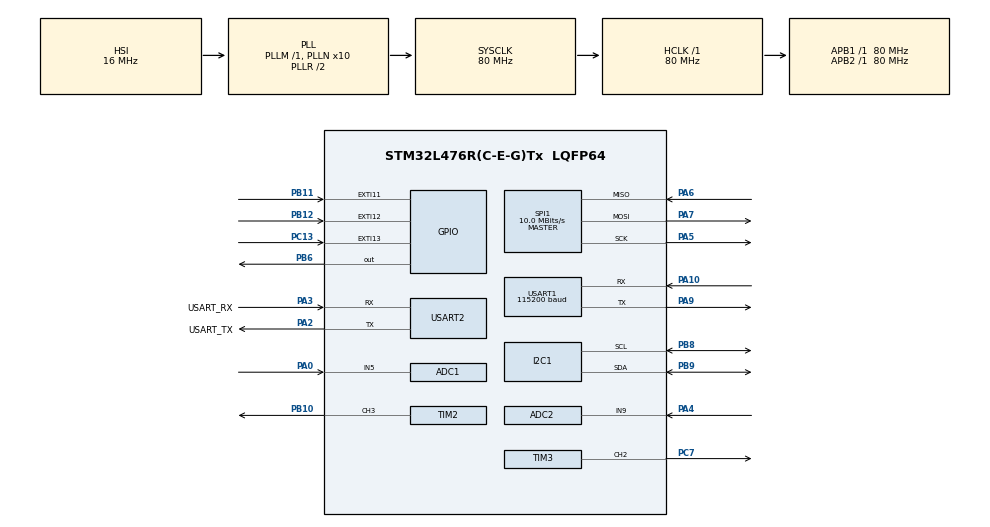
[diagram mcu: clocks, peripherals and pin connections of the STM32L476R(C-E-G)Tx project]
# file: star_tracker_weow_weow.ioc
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ADC1.Channel-0\#ChannelRegularConversion=ADC_CHANNEL_5
ADC1.NbrOfConversionFlag=1
ADC1.OffsetNumber-0\#ChannelRegularConversion=ADC_OFFSET_NONE
ADC1.Rank-0\#ChannelRegularConversion=1
ADC1.Resolution=ADC_RESOLUTION_8B
ADC1.SamplingTime-0\#ChannelRegularConversion=ADC_SAMPLETIME_2CYCLES_5
ADC1.master=1
ADC2.Channel-0\#ChannelRegularConversion=ADC_CHANNEL_9
ADC2.NbrOfConversionFlag=1
ADC2.OffsetNumber-0\#ChannelRegularConversion=ADC_OFFSET_NONE
ADC2.Rank-0\#ChannelRegularConversion=1
ADC2.Resolution=ADC_RESOLUTION_8B
ADC2.SamplingTime-0\#ChannelRegularConversion=ADC_SAMPLETIME_2CYCLES_5
I2C1.Timing=0x10D19CE4
Mcu.Family=STM32L4
Mcu.Name=STM32L476R(C-E-G)Tx
Mcu.Package=LQFP64
NVIC.EXTI15_10_IRQn=true\:0\:0\:false\:false\:true\:true\:true\:true
NVIC.PriorityGroup=NVIC_PRIORITYGROUP_4
NVIC.USART1_IRQn=true\:0\:0\:false\:false\:true\:true\:true\:true
NVIC.USART2_IRQn=true\:0\:0\:false\:false\:true\:true\:true\:true
PA0.Signal=ADCx_IN5
PA10.Mode=Asynchronous
PA10.Signal=USART1_RX
PA13\ (JTMS-SWDIO).GPIO_Label=TMS
PA13\ (JTMS-SWDIO).Signal=SYS_JTMS-SWDIO
PA14\ (JTCK-SWCLK).GPIO_Label=TCK
PA14\ (JTCK-SWCLK).Signal=SYS_JTCK-SWCLK
PA2.GPIO_Label=USART_TX
PA2.GPIO_Mode=GPIO_MODE_AF_PP
PA2.GPIO_PuPd=GPIO_NOPULL
PA2.GPIO_Speed=GPIO_SPEED_FREQ_VERY_HIGH
PA2.Mode=Asynchronous
PA2.Signal=USART2_TX
PA3.GPIO_Label=USART_RX
PA3.GPIO_Mode=GPIO_MODE_AF_PP
PA3.GPIO_PuPd=GPIO_NOPULL
PA3.GPIO_Speed=GPIO_SPEED_FREQ_VERY_HIGH
PA3.Mode=Asynchronous
PA3.Signal=USART2_RX
PA4.Signal=ADCx_IN9
PA5.Mode=Full_Duplex_Master
PA5.Signal=SPI1_SCK
PA6.Mode=Full_Duplex_Master
PA6.Signal=SPI1_MISO
PA7.Mode=Full_Duplex_Master
PA7.Signal=SPI1_MOSI
PA9.Mode=Asynchronous
PA9.Signal=USART1_TX
PB10.Signal=S_TIM2_CH3
PB11.GPIO_ModeDefaultEXTI=GPIO_MODE_IT_FALLING
PB11.Signal=GPXTI11
PB12.GPIO_ModeDefaultEXTI=GPIO_MODE_IT_FALLING
PB12.Signal=GPXTI12
PB3\ (JTDO-TRACESWO).GPIO_Label=SWO
PB3\ (JTDO-TRACESWO).Signal=SYS_JTDO-SWO
PB6.Signal=GPIO_Output
PB8.Mode=I2C
PB8.Signal=I2C1_SCL
PB9.Mode=I2C
PB9.Signal=I2C1_SDA
PC13.GPIO_ModeDefaultEXTI=GPIO_MODE_IT_FALLING
PC13.GPIO_PuPd=GPIO_PULLUP
PC13.Signal=GPXTI13
PC14-OSC32_IN\ (PC14).Signal=RCC_OSC32_IN
PC15-OSC32_OUT\ (PC15).Signal=RCC_OSC32_OUT
PC7.Signal=S_TIM3_CH2
PH0-OSC_IN\ (PH0).Signal=RCC_OSC_IN
PH1-OSC_OUT\ (PH1).Signal=RCC_OSC_OUT
ProjectManager.HeapSize=0x200
ProjectManager.StackSize=0x400
ProjectManager.TargetToolchain=STM32CubeIDE
RCC.ADCFreq_Value=64000000
RCC.AHBFreq_Value=80000000
RCC.APB1Freq_Value=80000000
RCC.APB1TimFreq_Value=80000000
RCC.APB2Freq_Value=80000000
RCC.APB2TimFreq_Value=80000000
RCC.CortexFreq_Value=80000000
RCC.HCLKFreq_Value=80000000
RCC.HSE_VALUE=8000000
RCC.HSI_VALUE=16000000
RCC.LSE_VALUE=32768
RCC.MSI_VALUE=4000000
RCC.PLLN=10
RCC.PLLSourceVirtual=RCC_PLLSOURCE_HSI
RCC.PREFETCH_ENABLE=1
RCC.SYSCLKFreq_VALUE=80000000
RCC.SYSCLKSource=RCC_SYSCLKSOURCE_PLLCLK
RCC.USBFreq_Value=64000000
RCC.VCOOutputFreq_Value=160000000
SH.ADCx_IN5.0=ADC1_IN5,IN5-Single-Ended
SH.ADCx_IN9.0=ADC2_IN9,IN9-Single-Ended
SH.S_TIM2_CH3.0=TIM2_CH3,PWM Generation3 CH3
SH.S_TIM3_CH2.0=TIM3_CH2,PWM Generation2 CH2
SPI1.BaudRatePrescaler=SPI_BAUDRATEPRESCALER_8
SPI1.CLKPhase=SPI_PHASE_2EDGE
SPI1.CLKPolarity=SPI_POLARITY_HIGH
SPI1.CalculateBaudRate=10.0 MBits/s
SPI1.DataSize=SPI_DATASIZE_8BIT
SPI1.Direction=SPI_DIRECTION_2LINES
SPI1.Mode=SPI_MODE_MASTER
SPI1.VirtualType=VM_MASTER
TIM2.Channel-PWM\ Generation3\ CH3=TIM_CHANNEL_3
TIM2.Period=2000
TIM2.Prescaler=800-1
TIM2.Pulse-PWM\ Generation3\ CH3=1000
TIM3.Channel-PWM\ Generation2\ CH2=TIM_CHANNEL_2
TIM3.Period=2000
TIM3.Prescaler=800-1
TIM3.Pulse-PWM\ Generation2\ CH2=1000
USART1.BaudRate=115200
USART1.VirtualMode-Asynchronous=VM_ASYNC
USART2.VirtualMode-Asynchronous=VM_ASYNC
board=NUCLEO-L476RG

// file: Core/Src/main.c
/* USER CODE BEGIN Header */
/**
  ******************************************************************************
  * @file           : main.c
  * @brief          : Main program body
  ******************************************************************************
  * @attention
  *
  * Copyright (c) 2026 STMicroelectronics.
  * All rights reserved.
  *
  * This software is licensed under terms that can be found in the LICENSE file
  * in the root directory of this software component.
  * If no LICENSE file comes with this software, it is provided AS-IS.
  *
  ******************************************************************************
  */
/* USER CODE END Header */
#include "main.h"

/* USER CODE BEGIN Includes */
#include <string.h>
#include <stdio.h>
#include <math.h>
#include <ssd1306.h>
#include <ssd1306_fonts.h>
#include <stdlib.h>
#include <stdint.h>
/* USER CODE END Includes */

/* USER CODE BEGIN PTD */
enum mode {MANUAL, FOLLOW};
/* USER CODE END PTD */

/* USER CODE BEGIN PD */
#define BUTTON_READ GPIO_PIN_11
#define BUTTON_RESET GPIO_PIN_12
#define BUTTON_MODE GPIO_PIN_13

#define DEG_TO_RAD (M_PI / 180.0)
#define RAD_TO_DEG (180.0 / M_PI)
/* USER CODE END PD */

ADC_HandleTypeDef hadc1;
ADC_HandleTypeDef hadc2;

I2C_HandleTypeDef hi2c1;

SPI_HandleTypeDef hspi1;

TIM_HandleTypeDef htim2;
TIM_HandleTypeDef htim3;

UART_HandleTypeDef huart1;
UART_HandleTypeDef huart2;

/* USER CODE BEGIN PV */
// modes

int mode = MANUAL;

//button flags

volatile uint8_t reset_flag=0;
volatile uint8_t mode_flag=0;

// UART RX variables for user commands
uint8_t uart_rx_byte;
char uart_rx_buffer[64];
uint8_t uart_rx_idx = 0;
volatile uint8_t uart_cmd_ready = 0;
char uart_received_cmd[64];

//oled
char myText[100] = ":(";
char retVal;
char msg[100];

//temperature
static const uint8_t TMP102_ADDR = 0x48 << 1; // Use 8-bit address
static const uint8_t REG_TEMP = 0x00;
HAL_StatusTypeDef ret; 	// to hold communication errors if such occur
uint8_t Temperature_buf[16]; 			// to hold the character string for UART communication or the bytes from the TMP102 chip
int16_t val; 				// to hold raw value from the TMP102 chip
float temp_c;

//magnetometer
float direction;
float base_direction;
int16_t magX;
int16_t magY;
int16_t magZ;

float degree_1;
float degree_2;
uint8_t read;

//GPS
uint8_t rx_byte;
char gps_buffer[128];
uint8_t gps_index = 0;
volatile uint8_t line_ready = 0;
char gps_line[128];

typedef struct {
    uint8_t fix;          // 1 = jest sygnał ('A'), 0 = brak ('V')
    uint8_t hours;        // Czas UTC
    uint8_t minutes;
    uint8_t seconds;
    uint8_t day;
    uint8_t month;
    uint16_t year;
    double latitude;      // Stopnie dziesiętne (np. 52.229770)
    double longitude;     // Stopnie dziesiętne (np. 21.012220)
} GPS_Data_t;

typedef struct {
    double latitude;      // Stopnie dziesiętne (np. 52.229770)
    double longitude;     // Stopnie dziesiętne (np. 21.012220)
} GPS_Location_t;

GPS_Data_t gps_data = {0};
GPS_Location_t location ={0};

// Konwersja formatu NMEA (DDMM.MMMM) na stopnie dziesiętne (DD.DDDDDD)
double NMEA_To_Decimal(double nmea_val, char quadrant)
{
    int degrees = (int)(nmea_val / 100);
    double minutes = nmea_val - (degrees * 100);
    double dec = degrees + (minutes / 60.0);

    if (quadrant == 'S' || quadrant == 'W') {
        dec = -dec;
    }
    return dec;
}

// Bezpieczne wyciąganie kolejnego pola między przecinkami (obsługuje puste pola ",,")
char* get_next_token(char **str)
{
    if (*str == NULL) return NULL;
    char *start = *str;
    char *end = strpbrk(start, ",*");
    if (end != NULL) {
        *end = '\0';
        *str = end + 1;
    } else {
        *str = NULL;
    }
    return start;
}

// Parser ramki $GNRMC / $GPRMC
void GPS_Parse_RMC(char *line, GPS_Data_t *gps)
{
    if (strncmp(line, "$GNRMC", 6) != 0 && strncmp(line, "$GPRMC", 6) != 0) {
        return; // Ignoruj inne ramki
    }

    char *rest = line;
    char *token;
    int field = 0;

    double raw_lat = 0.0, raw_lon = 0.0;
    char lat_dir = 'N', lon_dir = 'E';

    while ((token = get_next_token(&rest)) != NULL)
    {
        switch (field)
        {
            case 1: // Czas UTC: HHMMSS.sss (czas bywa dostępny jeszcze przed złapaniem fixa 3D!)
                if (strlen(token) >= 6) {
                    int t = atoi(token);
                    gps->hours   = (t / 10000);
                    gps->minutes = (t % 10000) / 100;
                    gps->seconds = (t % 100);
                }
                break;

            case 2: // Status: 'A' = Active, 'V' = Void
                gps->fix = (token[0] == 'A') ? 1 : 0;
                break;

            case 3: // Szerokość (DDMM.MMMM)
                if (strlen(token) > 0) raw_lat = atof(token);
                break;

            case 4: // Półkula N/S
                if (strlen(token) > 0) lat_dir = token[0];
                break;

            case 5: // Długość (DDDMM.MMMM)
                if (strlen(token) > 0) raw_lon = atof(token);
                break;

            case 6: // Półkula E/W
                if (strlen(token) > 0) lon_dir = token[0];
                break;

            case 9: // Data: DDMMYY
                if (strlen(token) == 6) {
                    int d = atoi(token);
                    gps->day   = (d / 10000);
                    gps->month = (d % 10000) / 100;
                    gps->year  = 2000 + (d % 100);
                }
                break;
        }
        field++;
    }

    if (gps->fix) {
        gps->latitude  = NMEA_To_Decimal(raw_lat, lat_dir);
        gps->longitude = NMEA_To_Decimal(raw_lon, lon_dir);
    }
}

//coordinates

// Structure holding equatorial coordinates of the celestial target
typedef struct {
    float ra_hours;    // Right Ascension in decimal hours (0.0 to 24.0 h)
    float dec_deg;     // Declination in decimal degrees (-90.0 to +90.0 deg)
} SkyTarget_t;

// Structure holding calculated angles for the servos
typedef struct {
    float azimuth_servo;   // Horizontal servo angle (0 to 180 or 0 to 360 deg)
    float altitude_servo;  // Vertical servo angle (0 to 90 deg)
} ServoAngles_t;

SkyTarget_t current_target = { .ra_hours = 0.0f, .dec_deg = 0.0f };

// Parses input string formatted as: "RA,DEC\n" (e.g., "6.75,-16.71\n")
uint8_t Parse_UART_Coordinates(char *str, SkyTarget_t *target)
{
    float ra, dec;
    if (sscanf(str, "%f,%f", &ra, &dec) == 2) {
        if (ra >= 0.0f && ra <= 24.0f && dec >= -90.0f && dec <= 90.0f) {
            target->ra_hours = ra;
            target->dec_deg = dec;
            return 1; // Valid
        }
    }
    return 0; // Malformed input
}
/**
 * @brief Normalizes an angle in degrees into the [0, 360) range.
 */
static float normalize_deg(float angle) {
    angle = fmodf(angle, 360.0f);
    if (angle < 0.0f) angle += 360.0f;
    return angle;
}

/**
 * @brief Computes days elapsed since the standard epoch J2000.0 (d = JD - 2451545.0).
 *
 * @param year   Calendar year (e.g., 2026)
 * @param month  Month (1 - 12)
 * @param day    Day of the month (1 - 31)
 * @param hour   UTC hour (0 - 23)
 * @param minute UTC minute (0 - 59)
 * @param second UTC second (0 - 59)
 * @return Days elapsed since J2000.0 epoch
 */
static double get_days_since_j2000(int year, int month, int day, int hour, int minute, int second) {
    if (month <= 2) {
        year -= 1;
        month += 12;
    }

    int A = year / 100;
    int B = 2 - A + (A / 4);

    // Julian Day Number at 0h UTC
    double JD = floor(365.25 * (year + 4716)) + floor(30.6001 * (month + 1)) + day + B - 1524.5;

    // Add fractional day based on UTC time
    double day_fraction = (hour + minute / 60.0 + second / 3600.0) / 24.0;
    JD += day_fraction;

    return JD - 2451545.0; // Elapsed days since J2000.0
}

/**
 * @brief Computes Greenwich Mean Sidereal Time (GMST) in degrees [0, 360).
 *
 * @param d Days elapsed since J2000.0
 * @param hour UTC hour
 * @param minute UTC minute
 * @param second UTC second
 * @return GMST in degrees
 */
static float calculate_gmst_deg(double d, int hour, int minute, int second) {
    // Astronomical approximation formula for GMST
    double gmst = 280.46061837 + 360.98564736629 * d;
    return (float)fmod(gmst, 360.0);
}

/**
 * @brief Converts equatorial coordinates into horizontal servo angles.
 *
 * @param target     Target celestial coordinates (RA in hours, Dec in degrees)
 * @param gps        Current GPS data (latitude, longitude, UTC date & time)
 * @param heading    Device orientation heading (0=N, 90=W, 180=S, 270=E)
 * @param servos     Pointer to output struct containing computed servo angles
 */
void Calculate_Servo_Positions(const SkyTarget_t *target,
                              const GPS_Data_t *gps,
                              float heading,
                              ServoAngles_t *servos)
{
    // 1. Calculate elapsed days since J2000.0
    double d = get_days_since_j2000(gps->year, gps->month, gps->day,
                                    gps->hours, gps->minutes, gps->seconds);

    // 2. Calculate Greenwich Mean Sidereal Time (GMST) in degrees
    float gmst = calculate_gmst_deg(d, gps->hours, gps->minutes, gps->seconds);
    if (gmst < 0.0f) gmst += 360.0f;

    // 3. Calculate Local Sidereal Time (LST)
    // Positive longitude for East, negative for West
    float lst = normalize_deg(gmst + (float)gps->longitude);

    // 4. Calculate Hour Angle (HA)
    // 1 hour of Right Ascension = 15 degrees
    float ra_deg = target->ra_hours * 15.0f;
    float ha_deg = normalize_deg(lst - ra_deg);

    // Convert angles to radians for trigonometric functions
    float ha = ha_deg * DEG_TO_RAD;
    float dec = target->dec_deg * DEG_TO_RAD;
    float lat = (float)gps->latitude * DEG_TO_RAD;

    // 5. Calculate Altitude (Alt)
    // sin(Alt) = sin(Dec)*sin(Lat) + cos(Dec)*cos(Lat)*cos(HA)
    float sin_alt = sinf(dec) * sinf(lat) + cosf(dec) * cosf(lat) * cosf(ha);

    // Clamp to valid range [-1.0, 1.0] to prevent rounding NaN errors
    if (sin_alt > 1.0f) sin_alt = 1.0f;
    if (sin_alt < -1.0f) sin_alt = -1.0f;
    float alt = asinf(sin_alt); // Altitude in radians

    // 6. Calculate astronomical Azimuth (Az: 0=N, 90=E, 180=S, 270=W)
    // cos(Az) = (sin(Dec) - sin(Alt)*sin(Lat)) / (cos(Alt)*cos(Lat))
    float cos_az = (sinf(dec) - sinf(alt) * sinf(lat)) / (cosf(alt) * cosf(lat));
    if (cos_az > 1.0f) cos_az = 1.0f;
    if (cos_az < -1.0f) cos_az = -1.0f;

    float az = acosf(cos_az) * RAD_TO_DEG;

    // If sin(HA) > 0, the target is setting (past the meridian, Az > 180 deg)
    if (sinf(ha) > 0.0f) {
        az = 360.0f - az;
    }

    float alt_deg = alt * RAD_TO_DEG;

    // -------------------------------------------------------------
    // 7. Map to physical servo angles
    // -------------------------------------------------------------

    // Vertical servo (Altitude):
    // If target is below horizon (Alt < 0), clamp servo to 0 deg
    if (alt_deg < 0.0f) {
        servos->altitude_servo = 0.0f; // Below horizon
    } else {
        servos->altitude_servo = alt_deg;
    }

    // Horizontal servo (Relative Azimuth):
    // Standard astronomical azimuth: 0=N, 90=E, 180=S, 270=W
    // User heading convention is counter-clockwise: 0=N, 90=W, 180=S, 270=E
    // Transform target azimuth to user compass system: target_in_user_system = (360 - az)
    // Relative servo position: target - device_heading
    float target_in_your_system = 360.0f - az;
    float relative_servo_azimuth = target_in_your_system - heading;

    servos->azimuth_servo = normalize_deg(relative_servo_azimuth);
}

/**
 * @brief Sets standard RC servo angle (0 to 180 degrees via 1000us - 2000us PWM pulse).
 *
 * @param htim    Pointer to TIM handle (e.g., &htim2)
 * @param channel Timer channel (e.g., TIM_CHANNEL_1)
 * @param angle   Target angle in degrees (0.0 to 180.0)
 */
void Servo_SetAngle(TIM_HandleTypeDef *htim, uint32_t channel, float angle)
{
    // Clamp angle to physical servo limits
    if (angle < 0.0f) angle = 0.0f;
    if (angle > 180.0f) angle = 180.0f;

    // Map 0 - 180 degrees to 1000 - 2000 microseconds pulse width
    uint32_t pulse_us = (uint32_t)(1000.0f + (angle / 180.0f) * 1000.0f);

    // Update timer compare register
    __HAL_TIM_SET_COMPARE(htim, channel, pulse_us);
}

/* USER CODE END PV */

void SystemClock_Config(void);
void PeriphCommonClock_Config(void);
static void MX_GPIO_Init(void);
static void MX_ADC1_Init(void);
static void MX_USART2_UART_Init(void);
static void MX_TIM3_Init(void);
static void MX_ADC2_Init(void);
static void MX_TIM2_Init(void);
static void MX_USART1_UART_Init(void);
static void MX_SPI1_Init(void);
static void MX_I2C1_Init(void);
/* USER CODE BEGIN PFP */
void servo_control(TIM_HandleTypeDef *htim, uint32_t Channel, float degree)
{
    uint16_t pulseWidth = (uint16_t)((degree * 150.0f / 180.0f) + 75.0f);
    __HAL_TIM_SetCompare(htim, Channel, pulseWidth);
}

float read_potentiometer(ADC_HandleTypeDef *hadc ){
	HAL_ADC_Start(hadc);
	HAL_ADC_PollForConversion(hadc,1000);

	return ((float)HAL_ADC_GetValue(hadc))/255.0f*180.0f;

}

void write_spi(uint8_t REG_ADRES, uint8_t msg){
	 uint8_t DATA[2];
	 DATA[0]= writeMask | REG_ADRES ;
	 DATA[1]=msg;
	 HAL_GPIO_WritePin(GPIOB, GPIO_PIN_6, GPIO_PIN_RESET); // Pull the chip select line low
	 HAL_SPI_Transmit(&hspi1, DATA, 2, 100); // Tell the ICM20948 what you want
	 HAL_GPIO_WritePin(GPIOB, GPIO_PIN_6, GPIO_PIN_SET);
}

void read_spi(void* rx_data_pointer, uint8_t REG_ADRES){

	   uint8_t tx_data = 0x80 |REG_ADRES; // Prepare the instruction " read register
  	   HAL_GPIO_WritePin(GPIOB, GPIO_PIN_6, GPIO_PIN_RESET); // Pull the chip select line low
  	   HAL_SPI_Transmit(&hspi1, &tx_data, 1, 100); // Tell the ICM20948 what you want
  	   HAL_SPI_Receive(&hspi1, rx_data_pointer, 1, 100); // Get the answer
  	   HAL_GPIO_WritePin(GPIOB, GPIO_PIN_6, GPIO_PIN_SET); // Release the slave chip by bringing the line back up

}

void spi_slave0_write(uint8_t SLV_REG, uint8_t SLV_CMD){
	write_spi(ICM20648_REG_BANK_SEL, 0x30);
	write_spi(ICM20648_REG_I2C_SLV0_ADDR, 0x0C);
	write_spi(ICM20648_REG_I2C_SLV0_REG, SLV_REG);
	write_spi(ICM20648_REG_I2C_SLV0_DO, SLV_CMD);
	write_spi(ICM20648_REG_I2C_SLV0_CTRL, 0x81);
}

void spi_slave0_read( uint8_t SLV_REG, uint8_t len){
	write_spi(ICM20648_REG_BANK_SEL, 0x30);
	write_spi(ICM20648_REG_I2C_SLV0_ADDR, 0x8C);
	write_spi(ICM20648_REG_I2C_SLV0_REG, SLV_REG);
	write_spi(ICM20648_REG_I2C_SLV0_CTRL, 0x80|len);

}

float read_magnetometer(int16_t *magX,int16_t *magY,int16_t *magZ, uint8_t print)
{
	  write_spi(ICM20648_REG_BANK_SEL, 0x00); // Ensure Bank 0 is selected

	  uint8_t st1;
	  read_spi(&st1, 0x3B); // Read ST1 (Status 1) register

	  // Check if the "Data Ready" bit (bit 0) is set to 1
	  if (st1 & 0x01) {
		  uint8_t hxl, hxh, hyl, hyh, hzl, hzh, st2;

		  read_spi(&hxl, 0x3C); // X Low
		  read_spi(&hxh, 0x3D); // X High
		  read_spi(&hyl, 0x3E); // Y Low
		  read_spi(&hyh, 0x3F); // Y High
		  read_spi(&hzl, 0x40); // Z Low
		  read_spi(&hzh, 0x41); // Z High

		  // CRITICAL: You MUST read ST2 (0x42) at the end of every cycle.
		  // If you do not read ST2, the AK09916 locks its data registers and stops updating!
		  read_spi(&st2, 0x43);

		  // Reconstruct the 16-bit values correctly (Little-Endian)
		  *magX = (int16_t)((hxh << 8) | hxl);
		  *magY = (int16_t)((hyh << 8) | hyl);
		  *magZ = (int16_t)((hzh << 8) | hzl);

	  }

		// cound directions in radians
		float heading = atan2((float)*magY, (float)*magX);

		// radians to angles
		heading = heading * 180.0 / 3.14159265;

		// Normalisation
		if (heading < 0) {
			heading += 360.0;
		}

		if (print>0)
		{
		  char msg[50];
		  sprintf(msg, "X:%hd Y:%hd Z:%hd\r\n", *magX, *magY, *magZ);
		  HAL_UART_Transmit(&huart2, (uint8_t*)msg, strlen(msg), 100);
		  sprintf(msg, "direction %f\r\n", heading);
		  HAL_UART_Transmit(&huart2, (uint8_t*)msg, strlen(msg), 100);
		}

					// heading = 0 (lub 360) N
					// heading = 90 W
					// heading = 180 S
					// heading = 270 E
		return heading;
}

uint8_t read_gps(volatile uint8_t *line_ready, char *gps_line, GPS_Data_t *gps_data, uint8_t print)
{
    if (*line_ready)
    {
        *line_ready = 0;

        // Parse only if sentence is $GNRMC or $GPRMC
        if (strncmp(gps_line, "$GNRMC", 6) == 0 || strncmp(gps_line, "$GPRMC", 6) == 0)
        {
            GPS_Parse_RMC(gps_line, gps_data);

            if (print)
            {
                char msg[128]; // Increased to 128 to prevent truncation

                if (gps_data->fix)
                {
                    snprintf(msg, sizeof(msg),
                             " UTC: %02d:%02d:%02d | Data: %02d.%02d.%04d | Lat: %.6f, Lon: %.6f\r\n",
                             gps_data->hours, gps_data->minutes, gps_data->seconds,
                             gps_data->day, gps_data->month, gps_data->year,
                             gps_data->latitude, gps_data->longitude);
                }
                else
                {
                    snprintf(msg, sizeof(msg),
                             "Finding satelites... UTC: %02d:%02d:%02d\r\n",
                             gps_data->hours, gps_data->minutes, gps_data->seconds);
                }

                // Transmit FIRST, then return!
                HAL_UART_Transmit(&huart2, (uint8_t*)msg, strlen(msg), 100);
            }

            return gps_data->fix ? 1 : 0;
        }

        return 3; // Line was processed, but it was not RMC (e.g. GGA, GSV)
    }

    return 2; // No line ready yet
}

void reset(float *direction,GPS_Location_t *location,GPS_Data_t *gps_data ){

	float sum = 0.0f;
	for (int i = 0; i < 10; i++) {
	    sum += read_magnetometer(&magX, &magY, &magZ, 0);
	}
	*direction = sum / 10.0f;
    sprintf(msg, "direction %.1f\r\n", *direction);
    ssd1306_SetCursor(0, 5);
    retVal = ssd1306_WriteString(msg, Font_6x8, White);

    if (gps_data->fix)
                {snprintf(msg, sizeof(msg),
                        "UTC: %02d:%02d:%02d | Data: %02d.%02d.%04d | Lat: %.6f, Lon: %.6f | direction %.1f\r\n",
                        gps_data->hours, gps_data->minutes, gps_data->seconds,
                        gps_data->day, gps_data->month, gps_data->year,
                        gps_data->latitude, gps_data->longitude,*direction);
                HAL_UART_Transmit(&huart2, (uint8_t*)msg, strlen(msg), 100);
                    // Mamy sygnał z satelitów!
                    snprintf(msg, sizeof(msg),
                             "Lat:%.2f, Lon:%.2f\r\n",

                             gps_data->latitude, gps_data->longitude);
                }
                else
                {
                    // Brak fixa (np. w budynku), ale czas z satelitów lub RTC modułu może już płynąć
                	snprintf(msg, sizeof(msg),
                	                         "Finding satelites...  UTC: %02d:%02d:%02d | direction %.1f \r\n",
                	                         gps_data->hours, gps_data->minutes, gps_data->seconds,*direction);
                	HAL_UART_Transmit(&huart2, (uint8_t*)msg, strlen(msg), 100);

                    snprintf(msg, sizeof(msg),
                             "No satelites");
                }
    ssd1306_SetCursor(0, 15);
    retVal = ssd1306_WriteString(msg, Font_6x8, White);
    ssd1306_UpdateScreen();

}

void read_temp(uint8_t *Temperature_buf, HAL_StatusTypeDef *ret, int16_t *val,float *temp_c , uint8_t print){
// Tell TMP102 that we want to read from the temperature register
*Temperature_buf = REG_TEMP;
*ret = HAL_I2C_Master_Transmit(&hi2c1, TMP102_ADDR, Temperature_buf, 1, 200);
	if ( *ret != HAL_OK ) {
	  strcpy(Temperature_buf, "Error Tx\r\n");
	}
	else{
  // Read 2 bytes from the temperature register
  *ret = HAL_I2C_Master_Receive(&hi2c1, TMP102_ADDR, Temperature_buf, 2, 200);
	  if ( *ret != HAL_OK ) {
		strcpy(Temperature_buf, "Error Rx\r\n");
	  } else {

		//Combine the bytes
		*val = ((int16_t)*Temperature_buf << 4) | (*(Temperature_buf+1) >> 4);

		// Convert to 2's complement, since temperature can be negative
		if ( *val > 0x7FF ) {
			*val |= 0xF000;
		}

		// Convert to float temperature value (Celsius)
		*temp_c = *val * 0.0625;

		// Convert temperature to decimal format
		*temp_c *= 100;
		sprintf((char*)Temperature_buf,"%u.%u C\r\n",
			  ((unsigned int)*temp_c / 100),
			  ((unsigned int)*temp_c % 100));
	  }

	}

if (print){
	HAL_UART_Transmit(&huart2, Temperature_buf, strlen((char*)Temperature_buf), 10);
}

}

/* USER CODE END PFP */

int main(void)
{

  /* MCU Configuration--------------------------------------------------------*/

  /* Reset of all peripherals, Initializes the Flash interface and the Systick. */
  HAL_Init();

  /* Configure the system clock */
  SystemClock_Config();

  /* Configure the peripherals common clocks */
  PeriphCommonClock_Config();

  /* Initialize all configured peripherals */
  MX_GPIO_Init();
  MX_ADC1_Init();
  MX_USART2_UART_Init();
  MX_TIM3_Init();
  MX_ADC2_Init();
  MX_TIM2_Init();
  MX_USART1_UART_Init();
  MX_SPI1_Init();
  MX_I2C1_Init();
  /* USER CODE BEGIN 2 */

  // oled
  ssd1306_Init();
   ssd1306_SetCursor(0, 5);
   retVal = ssd1306_WriteString(myText, Font_6x8, White);
   ssd1306_UpdateScreen();

  //UART
  HAL_UART_Receive_IT(&huart1, &rx_byte, 1);
  HAL_UART_Receive_IT(&huart2, &uart_rx_byte, 1);
  //servos
  HAL_TIM_PWM_Start(&htim3, TIM_CHANNEL_2);  // Start the timer 3 for PWM on Channel 2 (PC7)
  HAL_TIM_PWM_Start(&htim2, TIM_CHANNEL_3);  // Start the timer 2 for PWM on Channel 2 (PB10)

  //magnetometer
  do {
	  write_spi(ICM20648_REG_BANK_SEL, 0x00);
	   read_spi(&read,ICM20648_REG_WHO_AM_I);
     } while (read != 0xEA);
  	  write_spi(ICM20648_REG_PWR_MGMT_1, 0x01);
  	  read_spi(&read,ICM20648_REG_PWR_MGMT_1);// turn off sleep mode

  	  // magnetometer cobfiguration
     write_spi(ICM20648_REG_BANK_SEL, 0x00);
     write_spi(0x09, 0x01); // odr align
     HAL_Delay(5);
     write_spi(ICM20648_REG_USER_CTRL, 0x20);
     HAL_Delay(5);
     write_spi(ICM20648_REG_BANK_SEL, 0x30);
     HAL_Delay(5);
     write_spi(ICM20648_REG_I2C_MST_CTRL, 0x0D);
     HAL_Delay(5);
     write_spi(ICM20648_REG_LP_CONFIG, (1 << 6)); // i2c master in duty cycle mode
     HAL_Delay(5);
     write_spi(ICM20648_REG_I2C_MST_ODR_CONFIG, 0x03);    // odr to 137Hz
     HAL_Delay(10);

     spi_slave0_write(0x32, 0x01);// Write 0x01 to the magnetometer's CNTL3 register (0x32).
     HAL_Delay(20);
     spi_slave0_write(0x31, 0x08);// Write 0x08 to the magnetometer's CNTL2 register (0x31). This puts the magnetometer into Continuous Measurement Mode 4 (100 Hz update rate).
     HAL_Delay(20);
     spi_slave0_read(0x10, 0x0A);
     HAL_Delay(20);
     write_spi(ICM20648_REG_BANK_SEL, 0x00);

     reset(&direction,&location,&gps_data);

     SkyTarget_t plejady = {

    		 .ra_hours = 3.79f,
    		 .dec_deg  = 24.716f
     };

     current_target = plejady;

     ServoAngles_t target_servos;
     uint32_t last_calc_time = 0;

     __HAL_TIM_SET_COMPARE(&htim2, TIM_CHANNEL_3, 1500);
     __HAL_TIM_SET_COMPARE(&htim3, TIM_CHANNEL_2, 1500);
  /* USER CODE END 2 */

  /* Infinite loop */
  /* USER CODE BEGIN WHILE */

  while (1)
  {

	  if (uart_cmd_ready)
	            {
	                uart_cmd_ready = 0;
	                if (Parse_UART_Coordinates(uart_received_cmd, &current_target)) {
	                    snprintf(msg, sizeof(msg), "\r\n[OK] Set Target: RA=%.2fh, Dec=%.1f deg\r\n",
	                             current_target.ra_hours, current_target.dec_deg);
	                } else {
	                    snprintf(msg, sizeof(msg), "\r\n[ERR] Invalid format! Use: RA,DEC (e.g. 6.75,-16.7)\r\n");
	                }
	                HAL_UART_Transmit(&huart2, (uint8_t*)msg, strlen(msg), 100);
	            }

	  if (mode==MANUAL){
	  //servos
	  degree_1=read_potentiometer(&hadc1 );
	  degree_2=read_potentiometer(&hadc2 );
	  servo_control(&htim2,TIM_CHANNEL_3,degree_2);
	  servo_control(&htim3,TIM_CHANNEL_2,degree_1);
	  }else{
		  // Obliczaj nową pozycję serw np. co 1 sekundę, gdy GPS ma poprawny czas i pozycję
		      if (gps_data.fix && (HAL_GetTick() - last_calc_time > 1000))
		      {
		          last_calc_time = HAL_GetTick();

		          // Wylicz kąty serw
		          Calculate_Servo_Positions(&current_target, &gps_data, direction, &target_servos);

		          // Ustaw serwo wysokości (0 do 90 stopni)
		          servo_control(&htim2,TIM_CHANNEL_3,target_servos.altitude_servo);

		          // Ustaw serwo azymutu
		          // Uwaga: standardowe serwa obracają się w zakresie 0-180 stopni.
		          // Jeśli serwo obraca się tylko o 180 st., dopasuj zakres:
		          if (target_servos.azimuth_servo <= 170.0f) {
		        	  servo_control(&htim3,TIM_CHANNEL_2,target_servos.azimuth_servo);

		          }else{
		        	  servo_control(&htim3,TIM_CHANNEL_2,170);
		          }

		          // Podgląd na UART
		          char dbg[96];
		          snprintf(dbg, sizeof(dbg), "Cel -> Alt: %.1f st. | Servo Az: %.1f st.\r\n",
		                   target_servos.altitude_servo, target_servos.azimuth_servo);
		          HAL_UART_Transmit(&huart2, (uint8_t*)dbg, strlen(dbg), 50);
		      }
	  }

	// gps
	  read_gps(&line_ready, gps_line ,&gps_data, 1);

	// temperature
	  read_temp(Temperature_buf, &ret, &val,&temp_c,0);

	  if (reset_flag){
		  reset_flag=0;
		  reset(&direction,&location,&gps_data);
	  }

	  if (mode_flag ){
		  mode_flag =0;
		  ssd1306_SetCursor(0, 5);
		  if (mode == FOLLOW){snprintf(msg, sizeof(msg),"FOLLOW");}
		  else{snprintf(msg, sizeof(msg),"MANUAL");}

		  retVal = ssd1306_WriteString(msg, Font_6x8, White);
		  ssd1306_UpdateScreen();
	  }

	  if (temp_c< 2500){
		  ssd1306_SetCursor(100, 0);
		  snprintf(msg, sizeof(msg),"cold");
		  retVal = ssd1306_WriteString(msg, Font_6x8, White);
		  ssd1306_UpdateScreen();
	  }else{ssd1306_SetCursor(100, 0);
	  snprintf(msg, sizeof(msg),"    ");
	  retVal = ssd1306_WriteString(msg, Font_6x8, White);
	  ssd1306_UpdateScreen();}
    /* USER CODE END WHILE */

  }
}

void SystemClock_Config(void)
{
  RCC_OscInitTypeDef RCC_OscInitStruct = {0};
  RCC_ClkInitTypeDef RCC_ClkInitStruct = {0};

  /** Configure the main internal regulator output voltage
  */
  if (HAL_PWREx_ControlVoltageScaling(PWR_REGULATOR_VOLTAGE_SCALE1) != HAL_OK)
  {
    Error_Handler();
  }

  /** Initializes the RCC Oscillators according to the specified parameters
  * in the RCC_OscInitTypeDef structure.
  */
  RCC_OscInitStruct.OscillatorType = RCC_OSCILLATORTYPE_HSI;
  RCC_OscInitStruct.HSIState = RCC_HSI_ON;
  RCC_OscInitStruct.HSICalibrationValue = RCC_HSICALIBRATION_DEFAULT;
  RCC_OscInitStruct.PLL.PLLState = RCC_PLL_ON;
  RCC_OscInitStruct.PLL.PLLSource = RCC_PLLSOURCE_HSI;
  RCC_OscInitStruct.PLL.PLLM = 1;
  RCC_OscInitStruct.PLL.PLLN = 10;
  RCC_OscInitStruct.PLL.PLLP = RCC_PLLP_DIV7;
  RCC_OscInitStruct.PLL.PLLQ = RCC_PLLQ_DIV2;
  RCC_OscInitStruct.PLL.PLLR = RCC_PLLR_DIV2;
  if (HAL_RCC_OscConfig(&RCC_OscInitStruct) != HAL_OK)
  {
    Error_Handler();
  }

  /** Initializes the CPU, AHB and APB buses clocks
  */
  RCC_ClkInitStruct.ClockType = RCC_CLOCKTYPE_HCLK|RCC_CLOCKTYPE_SYSCLK
                              |RCC_CLOCKTYPE_PCLK1|RCC_CLOCKTYPE_PCLK2;
  RCC_ClkInitStruct.SYSCLKSource = RCC_SYSCLKSOURCE_PLLCLK;
  RCC_ClkInitStruct.AHBCLKDivider = RCC_SYSCLK_DIV1;
  RCC_ClkInitStruct.APB1CLKDivider = RCC_HCLK_DIV1;
  RCC_ClkInitStruct.APB2CLKDivider = RCC_HCLK_DIV1;

  if (HAL_RCC_ClockConfig(&RCC_ClkInitStruct, FLASH_LATENCY_4) != HAL_OK)
  {
    Error_Handler();
  }
}

void PeriphCommonClock_Config(void)
{
  RCC_PeriphCLKInitTypeDef PeriphClkInit = {0};

  /** Initializes the peripherals clock
  */
  PeriphClkInit.PeriphClockSelection = RCC_PERIPHCLK_ADC;
  PeriphClkInit.AdcClockSelection = RCC_ADCCLKSOURCE_PLLSAI1;
  PeriphClkInit.PLLSAI1.PLLSAI1Source = RCC_PLLSOURCE_HSI;
  PeriphClkInit.PLLSAI1.PLLSAI1M = 1;
  PeriphClkInit.PLLSAI1.PLLSAI1N = 8;
  PeriphClkInit.PLLSAI1.PLLSAI1P = RCC_PLLP_DIV7;
  PeriphClkInit.PLLSAI1.PLLSAI1Q = RCC_PLLQ_DIV2;
  PeriphClkInit.PLLSAI1.PLLSAI1R = RCC_PLLR_DIV2;
  PeriphClkInit.PLLSAI1.PLLSAI1ClockOut = RCC_PLLSAI1_ADC1CLK;
  if (HAL_RCCEx_PeriphCLKConfig(&PeriphClkInit) != HAL_OK)
  {
    Error_Handler();
  }
}

static void MX_ADC1_Init(void)
{

  ADC_MultiModeTypeDef multimode = {0};
  ADC_ChannelConfTypeDef sConfig = {0};

  /** Common config
  */
  hadc1.Instance = ADC1;
  hadc1.Init.ClockPrescaler = ADC_CLOCK_ASYNC_DIV1;
  hadc1.Init.Resolution = ADC_RESOLUTION_8B;
  hadc1.Init.DataAlign = ADC_DATAALIGN_RIGHT;
  hadc1.Init.ScanConvMode = ADC_SCAN_DISABLE;
  hadc1.Init.EOCSelection = ADC_EOC_SINGLE_CONV;
  hadc1.Init.LowPowerAutoWait = DISABLE;
  hadc1.Init.ContinuousConvMode = DISABLE;
  hadc1.Init.NbrOfConversion = 1;
  hadc1.Init.DiscontinuousConvMode = DISABLE;
  hadc1.Init.ExternalTrigConv = ADC_SOFTWARE_START;
  hadc1.Init.ExternalTrigConvEdge = ADC_EXTERNALTRIGCONVEDGE_NONE;
  hadc1.Init.DMAContinuousRequests = DISABLE;
  hadc1.Init.Overrun = ADC_OVR_DATA_PRESERVED;
  hadc1.Init.OversamplingMode = DISABLE;
  if (HAL_ADC_Init(&hadc1) != HAL_OK)
  {
    Error_Handler();
  }

  /** Configure the ADC multi-mode
  */
  multimode.Mode = ADC_MODE_INDEPENDENT;
  if (HAL_ADCEx_MultiModeConfigChannel(&hadc1, &multimode) != HAL_OK)
  {
    Error_Handler();
  }

  /** Configure Regular Channel
  */
  sConfig.Channel = ADC_CHANNEL_5;
  sConfig.Rank = ADC_REGULAR_RANK_1;
  sConfig.SamplingTime = ADC_SAMPLETIME_2CYCLES_5;
  sConfig.SingleDiff = ADC_SINGLE_ENDED;
  sConfig.OffsetNumber = ADC_OFFSET_NONE;
  sConfig.Offset = 0;
  if (HAL_ADC_ConfigChannel(&hadc1, &sConfig) != HAL_OK)
  {
    Error_Handler();
  }

}

static void MX_ADC2_Init(void)
{

  ADC_ChannelConfTypeDef sConfig = {0};

  /** Common config
  */
  hadc2.Instance = ADC2;
  hadc2.Init.ClockPrescaler = ADC_CLOCK_ASYNC_DIV1;
  hadc2.Init.Resolution = ADC_RESOLUTION_8B;
  hadc2.Init.DataAlign = ADC_DATAALIGN_RIGHT;
  hadc2.Init.ScanConvMode = ADC_SCAN_DISABLE;
  hadc2.Init.EOCSelection = ADC_EOC_SINGLE_CONV;
  hadc2.Init.LowPowerAutoWait = DISABLE;
  hadc2.Init.ContinuousConvMode = DISABLE;
  hadc2.Init.NbrOfConversion = 1;
  hadc2.Init.DiscontinuousConvMode = DISABLE;
  hadc2.Init.ExternalTrigConv = ADC_SOFTWARE_START;
  hadc2.Init.ExternalTrigConvEdge = ADC_EXTERNALTRIGCONVEDGE_NONE;
  hadc2.Init.DMAContinuousRequests = DISABLE;
  hadc2.Init.Overrun = ADC_OVR_DATA_PRESERVED;
  hadc2.Init.OversamplingMode = DISABLE;
  if (HAL_ADC_Init(&hadc2) != HAL_OK)
  {
    Error_Handler();
  }

  /** Configure Regular Channel
  */
  sConfig.Channel = ADC_CHANNEL_9;
  sConfig.Rank = ADC_REGULAR_RANK_1;
  sConfig.SamplingTime = ADC_SAMPLETIME_2CYCLES_5;
  sConfig.SingleDiff = ADC_SINGLE_ENDED;
  sConfig.OffsetNumber = ADC_OFFSET_NONE;
  sConfig.Offset = 0;
  if (HAL_ADC_ConfigChannel(&hadc2, &sConfig) != HAL_OK)
  {
    Error_Handler();
  }

}

static void MX_I2C1_Init(void)
{

  hi2c1.Instance = I2C1;
  hi2c1.Init.Timing = 0x10D19CE4;
  hi2c1.Init.OwnAddress1 = 0;
  hi2c1.Init.AddressingMode = I2C_ADDRESSINGMODE_7BIT;
  hi2c1.Init.DualAddressMode = I2C_DUALADDRESS_DISABLE;
  hi2c1.Init.OwnAddress2 = 0;
  hi2c1.Init.OwnAddress2Masks = I2C_OA2_NOMASK;
  hi2c1.Init.GeneralCallMode = I2C_GENERALCALL_DISABLE;
  hi2c1.Init.NoStretchMode = I2C_NOSTRETCH_DISABLE;
  if (HAL_I2C_Init(&hi2c1) != HAL_OK)
  {
    Error_Handler();
  }

  /** Configure Analogue filter
  */
  if (HAL_I2CEx_ConfigAnalogFilter(&hi2c1, I2C_ANALOGFILTER_ENABLE) != HAL_OK)
  {
    Error_Handler();
  }

  /** Configure Digital filter
  */
  if (HAL_I2CEx_ConfigDigitalFilter(&hi2c1, 0) != HAL_OK)
  {
    Error_Handler();
  }

}

static void MX_SPI1_Init(void)
{

  /* SPI1 parameter configuration*/
  hspi1.Instance = SPI1;
  hspi1.Init.Mode = SPI_MODE_MASTER;
  hspi1.Init.Direction = SPI_DIRECTION_2LINES;
  hspi1.Init.DataSize = SPI_DATASIZE_8BIT;
  hspi1.Init.CLKPolarity = SPI_POLARITY_HIGH;
  hspi1.Init.CLKPhase = SPI_PHASE_2EDGE;
  hspi1.Init.NSS = SPI_NSS_SOFT;
  hspi1.Init.BaudRatePrescaler = SPI_BAUDRATEPRESCALER_8;
  hspi1.Init.FirstBit = SPI_FIRSTBIT_MSB;
  hspi1.Init.TIMode = SPI_TIMODE_DISABLE;
  hspi1.Init.CRCCalculation = SPI_CRCCALCULATION_DISABLE;
  hspi1.Init.CRCPolynomial = 7;
  hspi1.Init.CRCLength = SPI_CRC_LENGTH_DATASIZE;
  hspi1.Init.NSSPMode = SPI_NSS_PULSE_DISABLE;
  if (HAL_SPI_Init(&hspi1) != HAL_OK)
  {
    Error_Handler();
  }

}

static void MX_TIM2_Init(void)
{

  TIM_MasterConfigTypeDef sMasterConfig = {0};
  TIM_OC_InitTypeDef sConfigOC = {0};

  htim2.Instance = TIM2;
  htim2.Init.Prescaler = 800-1;
  htim2.Init.CounterMode = TIM_COUNTERMODE_UP;
  htim2.Init.Period = 2000;
  htim2.Init.ClockDivision = TIM_CLOCKDIVISION_DIV1;
  htim2.Init.AutoReloadPreload = TIM_AUTORELOAD_PRELOAD_DISABLE;
  if (HAL_TIM_PWM_Init(&htim2) != HAL_OK)
  {
    Error_Handler();
  }
  sMasterConfig.MasterOutputTrigger = TIM_TRGO_RESET;
  sMasterConfig.MasterSlaveMode = TIM_MASTERSLAVEMODE_DISABLE;
  if (HAL_TIMEx_MasterConfigSynchronization(&htim2, &sMasterConfig) != HAL_OK)
  {
    Error_Handler();
  }
  sConfigOC.OCMode = TIM_OCMODE_PWM1;
  sConfigOC.Pulse = 1000;
  sConfigOC.OCPolarity = TIM_OCPOLARITY_HIGH;
  sConfigOC.OCFastMode = TIM_OCFAST_DISABLE;
  if (HAL_TIM_PWM_ConfigChannel(&htim2, &sConfigOC, TIM_CHANNEL_3) != HAL_OK)
  {
    Error_Handler();
  }
  HAL_TIM_MspPostInit(&htim2);

}

static void MX_TIM3_Init(void)
{

  TIM_MasterConfigTypeDef sMasterConfig = {0};
  TIM_OC_InitTypeDef sConfigOC = {0};

  htim3.Instance = TIM3;
  htim3.Init.Prescaler = 800-1;
  htim3.Init.CounterMode = TIM_COUNTERMODE_UP;
  htim3.Init.Period = 2000;
  htim3.Init.ClockDivision = TIM_CLOCKDIVISION_DIV1;
  htim3.Init.AutoReloadPreload = TIM_AUTORELOAD_PRELOAD_DISABLE;
  if (HAL_TIM_PWM_Init(&htim3) != HAL_OK)
  {
    Error_Handler();
  }
  sMasterConfig.MasterOutputTrigger = TIM_TRGO_RESET;
  sMasterConfig.MasterSlaveMode = TIM_MASTERSLAVEMODE_DISABLE;
  if (HAL_TIMEx_MasterConfigSynchronization(&htim3, &sMasterConfig) != HAL_OK)
  {
    Error_Handler();
  }
  sConfigOC.OCMode = TIM_OCMODE_PWM1;
  sConfigOC.Pulse = 1000;
  sConfigOC.OCPolarity = TIM_OCPOLARITY_HIGH;
  sConfigOC.OCFastMode = TIM_OCFAST_DISABLE;
  if (HAL_TIM_PWM_ConfigChannel(&htim3, &sConfigOC, TIM_CHANNEL_2) != HAL_OK)
  {
    Error_Handler();
  }
  HAL_TIM_MspPostInit(&htim3);

}

static void MX_USART1_UART_Init(void)
{

  huart1.Instance = USART1;
  huart1.Init.BaudRate = 115200;
  huart1.Init.WordLength = UART_WORDLENGTH_8B;
  huart1.Init.StopBits = UART_STOPBITS_1;
  huart1.Init.Parity = UART_PARITY_NONE;
  huart1.Init.Mode = UART_MODE_TX_RX;
  huart1.Init.HwFlowCtl = UART_HWCONTROL_NONE;
  huart1.Init.OverSampling = UART_OVERSAMPLING_16;
  huart1.Init.OneBitSampling = UART_ONE_BIT_SAMPLE_DISABLE;
  huart1.AdvancedInit.AdvFeatureInit = UART_ADVFEATURE_NO_INIT;
  if (HAL_UART_Init(&huart1) != HAL_OK)
  {
    Error_Handler();
  }

}

static void MX_USART2_UART_Init(void)
{

  huart2.Instance = USART2;
  huart2.Init.BaudRate = 115200;
  huart2.Init.WordLength = UART_WORDLENGTH_8B;
  huart2.Init.StopBits = UART_STOPBITS_1;
  huart2.Init.Parity = UART_PARITY_NONE;
  huart2.Init.Mode = UART_MODE_TX_RX;
  huart2.Init.HwFlowCtl = UART_HWCONTROL_NONE;
  huart2.Init.OverSampling = UART_OVERSAMPLING_16;
  huart2.Init.OneBitSampling = UART_ONE_BIT_SAMPLE_DISABLE;
  huart2.AdvancedInit.AdvFeatureInit = UART_ADVFEATURE_NO_INIT;
  if (HAL_UART_Init(&huart2) != HAL_OK)
  {
    Error_Handler();
  }

}

static void MX_GPIO_Init(void)
{
  GPIO_InitTypeDef GPIO_InitStruct = {0};

  /* GPIO Ports Clock Enable */
  __HAL_RCC_GPIOC_CLK_ENABLE();
  __HAL_RCC_GPIOH_CLK_ENABLE();
  __HAL_RCC_GPIOA_CLK_ENABLE();
  __HAL_RCC_GPIOB_CLK_ENABLE();

  /*Configure GPIO pin Output Level */
  HAL_GPIO_WritePin(GPIOB, GPIO_PIN_6, GPIO_PIN_RESET);

  /*Configure GPIO pin : PC13 */
  GPIO_InitStruct.Pin = GPIO_PIN_13;
  GPIO_InitStruct.Mode = GPIO_MODE_IT_FALLING;
  GPIO_InitStruct.Pull = GPIO_PULLUP;
  HAL_GPIO_Init(GPIOC, &GPIO_InitStruct);

  /*Configure GPIO pins : PB11 PB12 */
  GPIO_InitStruct.Pin = GPIO_PIN_11|GPIO_PIN_12;
  GPIO_InitStruct.Mode = GPIO_MODE_IT_FALLING;
  GPIO_InitStruct.Pull = GPIO_NOPULL;
  HAL_GPIO_Init(GPIOB, &GPIO_InitStruct);

  /*Configure GPIO pin : PB6 */
  GPIO_InitStruct.Pin = GPIO_PIN_6;
  GPIO_InitStruct.Mode = GPIO_MODE_OUTPUT_PP;
  GPIO_InitStruct.Pull = GPIO_NOPULL;
  GPIO_InitStruct.Speed = GPIO_SPEED_FREQ_LOW;
  HAL_GPIO_Init(GPIOB, &GPIO_InitStruct);

  /* EXTI interrupt init*/
  HAL_NVIC_SetPriority(EXTI15_10_IRQn, 0, 0);
  HAL_NVIC_EnableIRQ(EXTI15_10_IRQn);

}

/* USER CODE BEGIN 4 */
void HAL_GPIO_EXTI_Callback(uint16_t GPIO_Pin)
{
  if(GPIO_Pin == BUTTON_RESET) {
	    reset_flag = 1;
  }else if (GPIO_Pin == BUTTON_MODE)
  	{
	  mode_flag = 1;
	  if (mode == MANUAL){
		  mode = FOLLOW;
  }else{
	  mode = MANUAL;}
  }
}

void HAL_UART_RxCpltCallback(UART_HandleTypeDef *huart)
{
    if (huart->Instance == USART1)
    {
        char c = (char)rx_byte;

        // Re-arm interrupt immediately (takes < 2 microseconds)
        HAL_UART_Receive_IT(&huart1, &rx_byte, 1);

        if (gps_index < sizeof(gps_buffer) - 1)
        {
            gps_buffer[gps_index++] = c;
            if (c == '\n') // End of NMEA sentence
            {
                gps_buffer[gps_index] = '\0';
                strcpy(gps_line, gps_buffer);
                line_ready = 1;
                gps_index = 0;
            }
        }
        else
        {
            gps_index = 0; // Prevent buffer overflow
        }
    }else if (huart->Instance == USART2) // From PC USB     // Handle UART RX character-by-character from terminal
        {
            char c = (char)uart_rx_byte;

            // Re-arm immediately
            HAL_UART_Receive_IT(&huart2, &uart_rx_byte, 1);

            if (c == '\r' || c == '\n')
            {
                if (uart_rx_idx > 0) {
                    uart_rx_buffer[uart_rx_idx] = '\0';
                    strcpy(uart_received_cmd, uart_rx_buffer);
                    uart_cmd_ready = 1;
                    uart_rx_idx = 0;
                }
            }
            else if (uart_rx_idx < sizeof(uart_rx_buffer) - 1)
            {
                uart_rx_buffer[uart_rx_idx++] = c;
            }
        }
    }

void HAL_UART_ErrorCallback(UART_HandleTypeDef *huart)
{
    if (huart->Instance == USART1)
    {
        __HAL_UART_CLEAR_OREFLAG(huart);
        HAL_UART_Receive_IT(&huart1, &rx_byte, 1);
    }
}
/* USER CODE END 4 */

void Error_Handler(void)
{
  __disable_irq();
  while (1)
  {
  }
}
